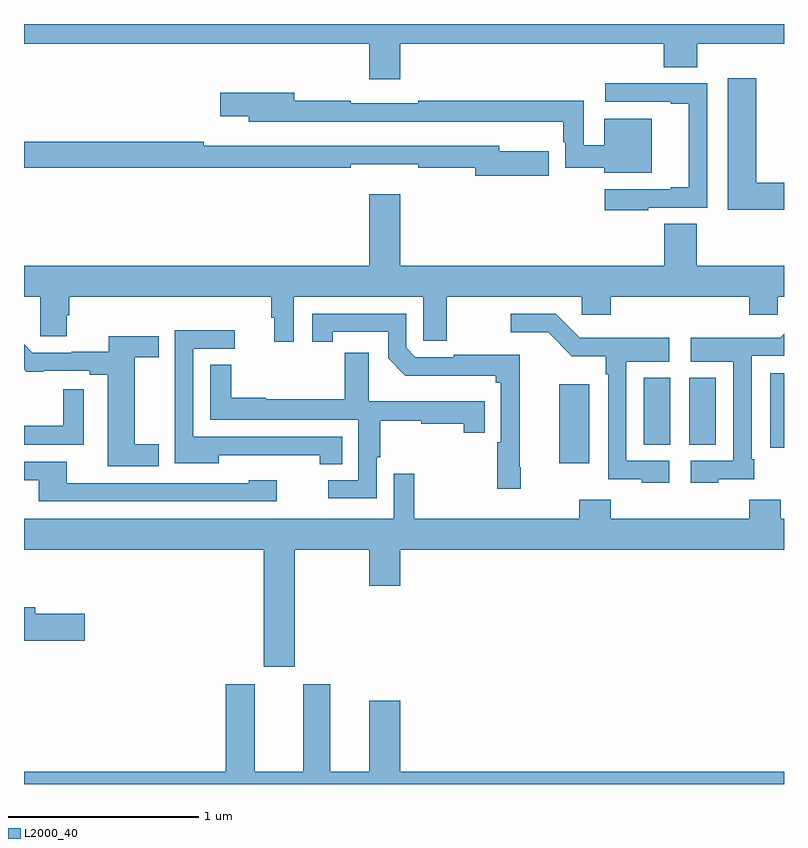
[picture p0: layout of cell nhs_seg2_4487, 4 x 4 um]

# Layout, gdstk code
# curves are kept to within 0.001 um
import gdstk
lib = gdstk.Library(unit=1e-6, precision=1e-09)
def R(c, l, rs):  # rectangles x0, y0, x1, y1
    for r in rs: c.add(gdstk.rectangle(r[:2], r[2:], *l))
def P(c, l, *ps):  # polygons
    for p in ps: c.add(gdstk.Polygon(p, *l))
L2000_40 = (2000, 40)

nhs_seg2_4487 = lib.new_cell('nhs_seg2_4487')
R(nhs_seg2_4487, L2000_40, [(357.818,585.489,357.976,585.904), (358.928,585.57,359,585.961), (358.262,585.586,358.402,585.937), (358.502,585.586,358.642,585.937)])
P(nhs_seg2_4487, L2000_40, [(356.98,587.696),(358.367,587.696),(358.367,587.572),(358.544,587.572),(358.544,587.696),(359,587.696),(359,587.8),(355,587.8),(355,587.696),(356.816,587.696),(356.816,587.508),(356.98,587.508)],
  [(359,586.964),(358.854,586.964),(358.854,587.515),(358.703,587.515),(358.703,586.822),(359,586.822)],
  [(358.286,586.833),(358.596,586.833),(358.596,587.487),(358.283,587.487),(358.283,587.489),(358.059,587.489),(358.059,587.391),(358.403,587.391),(358.403,587.379),(358.499,587.379),(358.499,586.942),(358.403,586.942),(358.403,586.929),(358.056,586.929),(358.056,586.821),(358.286,586.821)],
  [(358.303,587.302),(358.055,587.302),(358.055,587.163),(357.945,587.163),(357.945,587.395),(357.076,587.395),(357.076,587.382),(356.72,587.382),(356.72,587.395),(356.422,587.395),(356.422,587.437),(356.034,587.437),(356.034,587.315),(356.183,587.315),(356.183,587.286),(357.598,587.286),(357.598,587.285),(357.837,587.285),(357.837,587.178),(357.849,587.178),(357.849,587.044),(358.055,587.044),(358.055,587.018),(358.303,587.018)],
  [(357.763,587.131),(357.502,587.131),(357.502,587.16),(355.946,587.16),(355.946,587.18),(355,587.18),(355,587.044),(356.72,587.044),(356.72,587.063),(357.076,587.063),(357.076,587.044),(357.374,587.044),(357.374,587.002),(357.763,587.002)],
  [(356.419,586.364),(357.102,586.364),(357.102,586.132),(357.225,586.132),(357.225,586.364),(357.936,586.364),(357.936,586.271),(358.088,586.271),(358.088,586.364),(358.817,586.364),(358.817,586.271),(358.968,586.271),(358.968,586.364),(359,586.364),(359,586.528),(358.541,586.528),(358.541,586.748),(358.37,586.748),(358.37,586.528),(356.98,586.528),(356.98,586.903),(356.816,586.903),(356.816,586.528),(355,586.528),(355,586.364),(355.086,586.364),(355.086,586.156),(355.225,586.156),(355.225,586.266),(355.238,586.266),(355.238,586.364),(356.301,586.364),(356.301,586.254),(356.318,586.254),(356.318,586.128),(356.419,586.128)],
  [(357.614,585.466),(357.608,585.466),(357.608,586.06),(357.263,586.06),(357.263,586.047),(357.06,586.047),(357.012,586.095),(357.012,586.275),(356.517,586.275),(356.517,586.128),(356.626,586.128),(356.626,586.179),(356.916,586.179),(356.916,586.041),(357.007,585.95),(357.482,585.95),(357.482,585.912),(357.51,585.912),(357.51,585.598),(357.49,585.598),(357.49,585.354),(357.614,585.354)],
  [(358.396,585.501),(358.17,585.501),(358.17,586.022),(358.396,586.022),(358.396,586.15),(357.925,586.149),(357.799,586.275),(357.561,586.275),(357.561,586.178),(357.758,586.178),(357.884,586.052),(358.062,586.052),(358.062,585.956),(358.074,585.956),(358.074,585.405),(358.251,585.405),(358.251,585.386),(358.396,585.386)],
  [(356.675,585.627),(355.89,585.627),(355.89,586.092),(356.11,586.092),(356.11,586.189),(355.794,586.189),(355.794,585.959),(355.793,585.959),(355.793,585.724),(355.794,585.724),(355.794,585.488),(356.026,585.488),(356.026,585.53),(356.557,585.53),(356.557,585.484),(356.675,585.484)],
  [(358.653,585.405),(358.843,585.405),(358.843,585.508),(358.83,585.508),(358.83,586.053),(359,586.053),(359,586.17),(358.979,586.149),(358.509,586.15),(358.509,586.022),(358.734,586.022),(358.734,585.501),(358.509,585.501),(358.509,585.386),(358.653,585.386)],
  [(355.709,585.588),(355.582,585.588),(355.582,586.045),(355.709,586.045),(355.709,586.156),(355.445,586.156),(355.445,586.076),(355.248,586.076),(355.248,586.071),(355.044,586.071),(355,586.115),(355,585.983),(355.013,585.97),(355.105,585.97),(355.105,585.975),(355.346,585.975),(355.346,585.955),(355.442,585.955),(355.442,585.473),(355.709,585.473)],
  [(356.856,585.52),(356.876,585.52),(356.876,585.712),(357.09,585.712),(357.09,585.697),(357.314,585.697),(357.314,585.648),(357.425,585.648),(357.425,585.814),(356.815,585.814),(356.815,586.069),(356.687,586.069),(356.687,585.826),(356.273,585.826),(356.273,585.833),(356.092,585.833),(356.092,586.007),(355.98,586.007),(355.98,585.717),(356.76,585.717),(356.76,585.399),(356.601,585.399),(356.601,585.303),(356.856,585.303)],
  [(355.314,585.877),(355.206,585.877),(355.206,585.686),(355,585.686),(355,585.585),(355.314,585.585)],
  [(356.329,585.4),(356.184,585.4),(356.184,585.384),(355.225,585.384),(355.225,585.495),(355,585.495),(355,585.398),(355.078,585.398),(355.078,585.288),(356.329,585.288)],
  [(356.425,585.032),(356.816,585.032),(356.816,584.844),(356.98,584.844),(356.98,585.032),(359,585.032),(359,585.196),(358.982,585.196),(358.982,585.295),(358.817,585.295),(358.817,585.196),(358.088,585.196),(358.088,585.295),(357.923,585.295),(357.923,585.196),(357.055,585.196),(357.055,585.433),(356.946,585.433),(356.946,585.196),(355,585.196),(355,585.032),(356.261,585.032),(356.261,584.418),(356.425,584.418)],
  [(355.321,584.697),(355.06,584.697),(355.06,584.731),(355,584.731),(355,584.555),(355.321,584.555)],
  [(359,583.864),(356.98,583.864),(356.98,584.239),(356.816,584.239),(356.816,583.864),(356.611,583.864),(356.611,584.326),(356.471,584.326),(356.471,583.864),(356.215,583.864),(356.215,584.326),(356.063,584.326),(356.063,583.864),(355,583.864),(355,583.8),(359,583.8)])

lib.write_gds('nhs_seg2_4487.gds')
